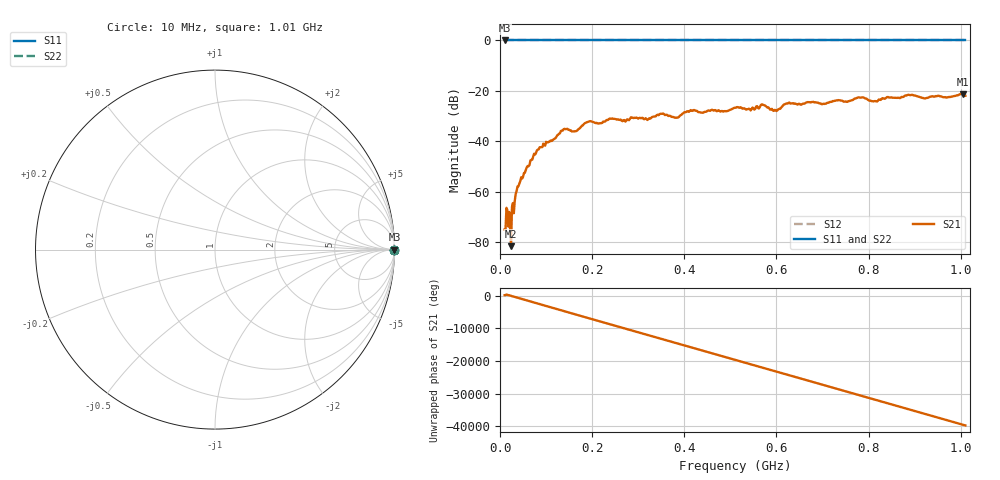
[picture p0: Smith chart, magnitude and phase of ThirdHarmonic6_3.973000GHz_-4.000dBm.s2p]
! 8/17/2025 2:07:56 PM
! C:\ANRITSUVNA\TEMP\TEMP.S2P
! CHANNEL.1
! TR.MEASUREMENT
! RAW.DATA
! RF.CORRECTION.OFF
! AVERAGING.OFF
! IF.BANDWIDTH: 5KHZ
! SWEEPTYPE:  FREQ.SWEEP(Linear)
! Reference Plane Port Info
! PORT:  PORT1  PORT2
! DISTANCE:  0  m  0  m
! TIME:  0  s  0  s
! PHASE.OFFSET:  0  deg.  0  deg.
! LOSS:  0  dB  0  dB
! REF.LOSS:  0  dB  0  dB
! REF.FREQ:  0  Hz  0  Hz
! Power Info
! POWER:  -20  dBm  -20  dBm
! EFF.POWER:  -20  dBm  -20  dBm
! SOURCE.ATTEN:  0  dB  0  dB
! TEST.ATTEN:  0  dB  0  dB
# GHZ S RI R 50.0
! FREQ.GHZ  S11RE  S11IM  S21RE  S21IM  S12RE  S12IM  S22RE  S22IM
!; PortSelection: Port_12
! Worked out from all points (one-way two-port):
!   501 points, 10 MHz to 1.01 GHz, reference 50 ohm
!   highest |S21| = -21.30 dB at 1.004 GHz (marker M1); lowest = -81.7 dB at 24 MHz (marker M2)
!   lowest |S11| = 0.0 dB at 10 MHz (marker M3)
!   |S11| at or under -10 dB: nowhere
!   |S22| runs from 0.0 to 0.0 dB; largest |S21 - S12| = 1.1
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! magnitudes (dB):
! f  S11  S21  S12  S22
! 10 MHz  0.0  -75.0  0.0  0.0
! 16 MHz  0.0  -67.3  0.0  0.0
! 20 MHz  0.0  -68.1  0.0  0.0
! 24 MHz  0.0  -81.7  0.0  0.0
! 26 MHz  0.0  -66.1  0.0  0.0
! 30 MHz  0.0  -68.6  0.0  0.0
! 42 MHz  0.0  -56.9  0.0  0.0
! 78 MHz  0.0  -44.7  0.0  0.0
! 136 MHz  0.0  -35.8  0.0  0.0
! 162 MHz  0.0  -36.1  0.0  0.0
! 178 MHz  0.0  -33.8  0.0  0.0
! 344 MHz  0.0  -29.7  0.0  0.0
! 384 MHz  0.0  -30.7  0.0  0.0
! 416 MHz  0.0  -27.9  0.0  0.0
! 510 MHz  0.0  -26.7  0.0  0.0
! 570 MHz  0.0  -25.5  0.0  0.0
! 598 MHz  0.0  -27.6  0.0  0.0
! 624 MHz  0.0  -25.1  0.0  0.0
! 678 MHz  0.0  -24.4  0.0  0.0
! 844 MHz  0.0  -22.6  0.0  0.0
! 1.004 GHz  0.0  -21.3  0.0  0.0
! 1.01 GHz  0.0  -22.0  0.0  0.0
